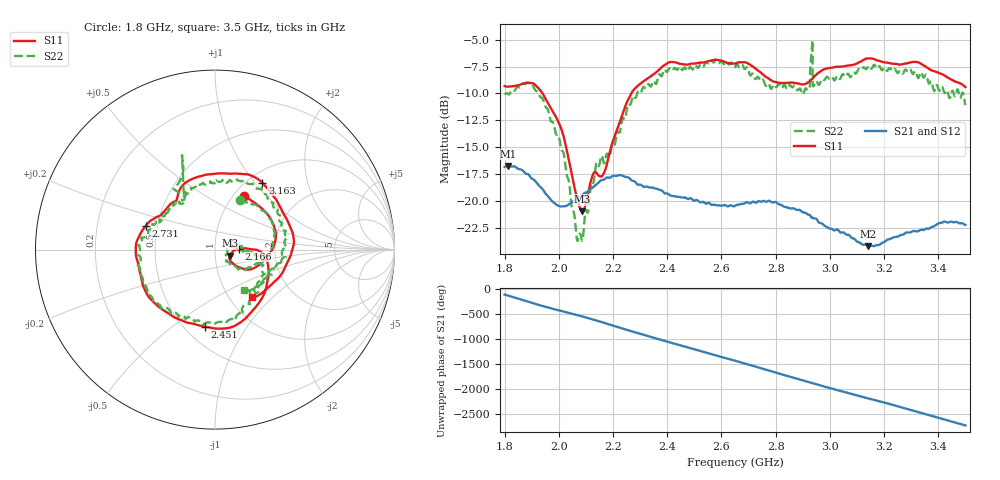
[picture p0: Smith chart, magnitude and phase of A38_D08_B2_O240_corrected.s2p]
! Created with skrf 1.9.0 (http://scikit-rf.org).
# Hz S RI R 50.0
!freq ReS11 ImS11 ReS21 ImS21 ReS12 ImS12 ReS22 ImS22
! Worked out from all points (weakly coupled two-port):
!   1601 points, 1.8 GHz to 3.5 GHz, reference 50 ohm
!   highest |S21| = -16.74 dB at 1.812 GHz (marker M1); lowest = -24.2 dB at 3.142 GHz (marker M2)
!   lowest |S11| = -21.0 dB at 2.087 GHz (marker M3), VSWR 1.20, Z = 58.9 - j3.98 ohm
!   |S11| at or under -10 dB: 1.94 GHz to 2.267 GHz (327.5 MHz wide, 15.6 % of centre)
!   |S22| runs from -23.7 to -5.1 dB; largest |S21 - S12| = 0.0028
!   S11 on the Smith chart (normalised r, x): 1.8 GHz: 1.12, +0.76; 2.166 GHz: 1.31, +0.01; 2.451 GHz: 0.63, -0.66; 2.731 GHz: 0.43, +0.14; 3.163 GHz: 1.16, +1.09; 3.5 GHz: 1.27, -0.76
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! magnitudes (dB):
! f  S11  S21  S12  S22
! 1.8 GHz  -9.3  -16.8  -16.8  -10.1
! 1.812 GHz  -9.4  -16.7  -16.7  -10.0
! 1.886 GHz  -9.0  -17.5  -17.6  -9.0
! 1.941 GHz  -10.1  -18.9  -18.9  -10.5
! 2.011 GHz  -13.5  -20.5  -20.5  -15.3
! 2.066 GHz  -19.6  -19.8  -19.8  -23.4
! 2.084 GHz  -20.9  -19.5  -19.4  -23.5
! 2.087 GHz  -21.0  -19.4  -19.4  -23.7
! 2.137 GHz  -17.3  -18.5  -18.5  -16.7
! 2.166 GHz  -17.4  -18.0  -18.0  -16.4
! 2.263 GHz  -10.2  -17.9  -18.0  -11.0
! 2.367 GHz  -7.9  -18.9  -18.9  -8.4
! 2.451 GHz  -7.3  -19.7  -19.7  -7.7
! 2.65 GHz  -7.2  -20.5  -20.4  -7.6
! 2.731 GHz  -7.8  -20.1  -20.1  -8.5
! 2.901 GHz  -9.2  -21.1  -21.1  -10.1
! 2.934 GHz  -8.7  -21.5  -21.5  -5.6
! 2.945 GHz  -8.4  -21.6  -21.7  -9.0
! 3.142 GHz  -6.8  -24.2  -24.1  -7.5
! 3.163 GHz  -6.8  -24.2  -24.1  -7.3
! 3.217 GHz  -7.2  -23.5  -23.5  -7.7
! 3.5 GHz  -9.4  -22.2  -22.2  -11.1
